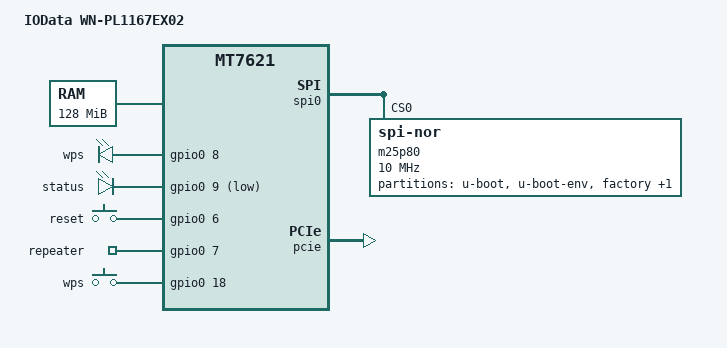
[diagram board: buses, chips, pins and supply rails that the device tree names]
/dts-v1/;

#include "zbsd-mt7621.dtsi"

/ {
	compatible = "mediatek,mt7621-eval-board", "mediatek,mt7621-soc";
	model = "IOData WN-PL1167EX02";

	memory@0 {
		device_type = "memory";
		reg = <0x0 0x8000000>;
	};

	chosen {
		bootargs = "console=ttyS0,57600";
	};

	leds {
		compatible = "gpio-leds";

		wps {
//			function = LED_FUNCTION_WPS;
//			color = <LED_COLOR_ID_GREEN>;
			gpios = <&gpio0 8 0>;
		};

		led_power: power {
			label = "status";
//			function = LED_FUNCTION_POWER;
//			color = <LED_COLOR_ID_GREEN>;
			gpios = <&gpio0 9 1>;
		};
	};

	keys {
		compatible = "gpio-keys";

		reset {
			label = "reset";
			gpios = <&gpio0 6 0>;
//			linux,code = <KEY_RESTART>;
		};

		repeater {
			label = "repeater";
			gpios = <&gpio0 7 0>;
//			linux,code = <BTN_0>;
//			linux,input-type = <EV_SW>;
		};

		wps {
			label = "wps";
			gpios = <&gpio0 18 0>;
//			linux,code = <KEY_WPS_BUTTON>;
		};
	};

};

&spi0 {
	status = "okay";

	m25p80@0 {
		#address-cells = <1>;
		#size-cells = <1>;
		compatible = "jedec,spi-nor";
		reg = <0>;
		linux,modalias = "m25p80";
		spi-max-frequency = <10000000>;

		partition@0 {
			label = "u-boot";
			reg = <0x0 0x30000>;
			read-only;
		};

		partition@30000 {
			label = "u-boot-env";
			reg = <0x30000 0x10000>;
			read-only;
		};

		factory: partition@40000 {
			label = "factory";
			reg = <0x40000 0x10000>;
		};

		partition@50000 {
			label = "firmware";
			reg = <0x50000 0xfb0000>;
		};
	};
};

&pcie {
	status = "okay";

	pcie0 {
		mt76@0,0 {
			reg = <0x0000 0 0 0 0>;
			device_type = "pci";
			mediatek,mtd-eeprom = <&factory 0x8000>;
			mediatek,2ghz = <0>;
			mtd-mac-address = <&factory 0xe000>;
		};
	};

	pcie1 {
		mt76@1,0 {
			reg = <0x0000 0 0 0 0>;
			device_type = "pci";
			mediatek,mtd-eeprom = <&factory 0x0000>;
			mediatek,5ghz = <0>;
			mtd-mac-address = <&factory 0xe000>;
		};
	};
};

&ethernet {
	mtd-mac-address = <&factory 0xe000>;
};

&pinctrl {
	state_default: pinctrl0 {
		gpio {
			ralink,group = "wdt", "rgmii2", "jtag";
			ralink,function = "gpio";
		};
		/* MT7621 ethernet switch control by mdio */
		mdio {
			ralink,group = "mdio";
			ralink,function = "mdio";
		};
	};
};

&sdhci {
	status = "disabled";
};

&xhci {
	status = "disabled";
};
